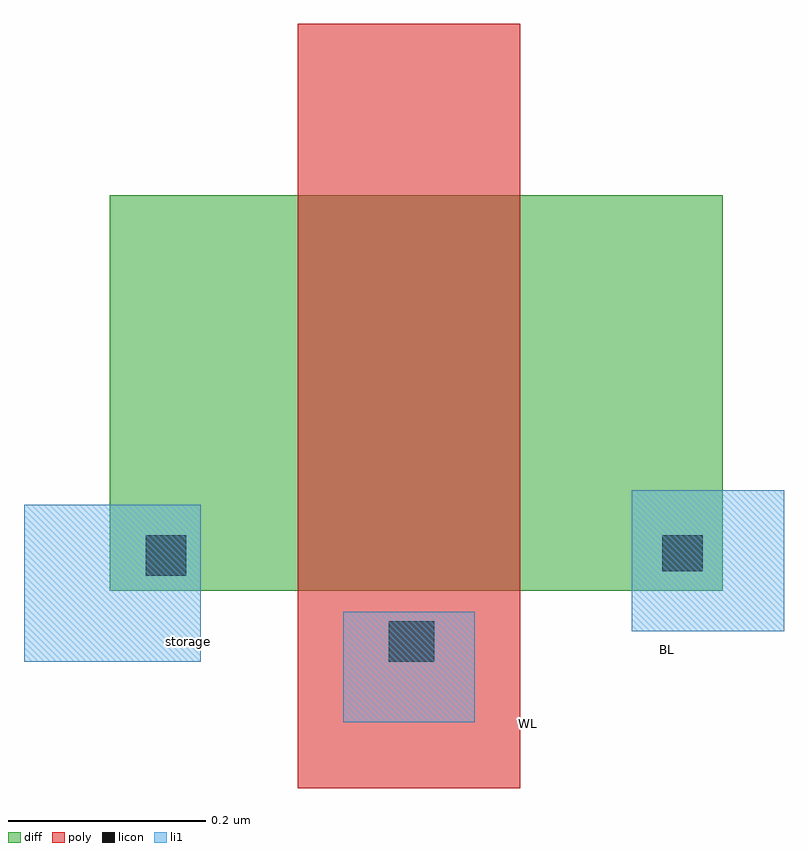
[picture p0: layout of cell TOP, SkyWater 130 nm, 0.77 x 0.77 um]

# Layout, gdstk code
import gdstk
lib = gdstk.Library(unit=1e-6, precision=1e-09)
def R(c, l, rs):  # rectangles x0, y0, x1, y1
    for r in rs: c.add(gdstk.rectangle(r[:2], r[2:], *l))
diff = (65, 20)
poly = (66, 20)
licon = (66, 44)
li1 = (67, 20)

top = lib.new_cell('TOP')
R(top, diff, [(-0.205,0.805,0.415,1.205)])
R(top, poly, [(-0.015,0.605,0.21,1.379)])
R(top, licon, [(0.077,0.733,0.123,0.774), (-0.169,0.82,-0.128,0.861), (0.354,0.825,0.395,0.861)])
R(top, li1, [(0.031,0.672,0.164,0.784), (-0.292,0.733,-0.113,0.892), (0.323,0.764,0.477,0.907)])
top.add(gdstk.Label('WL', (0.218,0.671), layer=67, texttype=5))
top.add(gdstk.Label('storage', (-0.126,0.754), layer=67, texttype=5))
top.add(gdstk.Label('BL', (0.359,0.746), layer=67, texttype=5))

lib.write_gds('TOP.gds')
